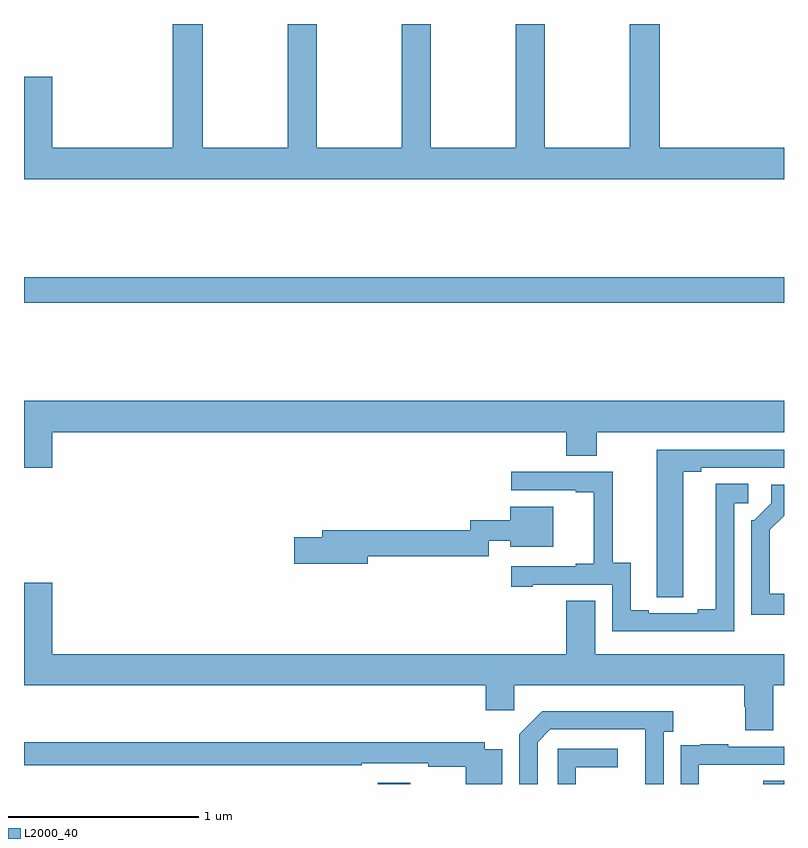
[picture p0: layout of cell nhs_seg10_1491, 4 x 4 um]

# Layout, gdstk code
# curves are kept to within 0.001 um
import gdstk
lib = gdstk.Library(unit=1e-6, precision=1e-09)
def R(c, l, rs):  # rectangles x0, y0, x1, y1
    for r in rs: c.add(gdstk.rectangle(r[:2], r[2:], *l))
def P(c, l, *ps):  # polygons
    for p in ps: c.add(gdstk.Polygon(p, *l))
L2000_40 = (2000, 40)

nhs_seg10_1491 = lib.new_cell('nhs_seg10_1491')
R(nhs_seg10_1491, L2000_40, [(190.862,1262.5,191.032,1262.506), (192.89,1262.5,193,1262.516), (189,1265.032,193,1265.168)])
P(nhs_seg10_1491, L2000_40, [(193,1265.848),(192.347,1265.848),(192.347,1266.5),(192.187,1266.5),(192.187,1265.848),(191.742,1265.848),(191.742,1266.5),(191.587,1266.5),(191.587,1265.848),(191.142,1265.848),(191.142,1266.5),(190.987,1266.5),(190.987,1265.848),(190.542,1265.848),(190.542,1266.5),(190.387,1266.5),(190.387,1265.848),(189.942,1265.848),(189.942,1266.5),(189.782,1266.5),(189.782,1265.848),(189.148,1265.848),(189.148,1266.223),(189,1266.223),(189,1265.684),(193,1265.684)],
  [(189.148,1264.352),(191.855,1264.352),(191.855,1264.228),(192.015,1264.228),(192.015,1264.352),(193,1264.352),(193,1264.516),(189,1264.516),(189,1264.164),(189.148,1264.164)],
  [(192.469,1264.144),(192.565,1264.144),(192.565,1264.164),(193,1264.164),(193,1264.26),(192.329,1264.26),(192.329,1263.592),(192.33,1263.592),(192.33,1263.484),(192.469,1263.484)],
  [(192.738,1263.978),(192.811,1263.978),(192.811,1264.079),(192.641,1264.079),(192.641,1263.419),(192.545,1263.419),(192.545,1263.399),(192.289,1263.399),(192.289,1263.414),(192.193,1263.414),(192.193,1263.665),(192.099,1263.665),(192.099,1264.143),(191.565,1264.143),(191.565,1264.047),(191.903,1264.047),(191.903,1264.035),(191.999,1264.035),(191.999,1263.658),(191.903,1263.658),(191.903,1263.645),(191.565,1263.645),(191.565,1263.537),(191.677,1263.537),(191.677,1263.549),(192.096,1263.549),(192.096,1263.303),(192.738,1263.303)],
  [(193,1263.502),(192.925,1263.502),(192.925,1263.838),(193,1263.913),(193,1264.074),(192.933,1264.074),(192.933,1263.978),(192.843,1263.888),(192.828,1263.888),(192.828,1263.392),(193,1263.392)],
  [(190.81,1263.7),(191.445,1263.7),(191.445,1263.779),(191.558,1263.779),(191.558,1263.749),(191.785,1263.749),(191.785,1263.958),(191.558,1263.958),(191.558,1263.889),(191.349,1263.889),(191.349,1263.836),(190.571,1263.836),(190.571,1263.8),(190.422,1263.8),(190.422,1263.658),(190.81,1263.658)],
  [(192.007,1263.464),(191.855,1263.464),(191.855,1263.184),(189.148,1263.184),(189.148,1263.559),(189,1263.559),(189,1263.02),(191.429,1263.02),(191.429,1262.889),(191.58,1262.889),(191.58,1263.02),(192.791,1263.02),(192.791,1262.907),(192.796,1262.907),(192.796,1262.782),(192.943,1262.782),(192.943,1263.02),(193,1263.02),(193,1263.184),(192.007,1263.184)],
  [(191.703,1262.721),(191.769,1262.787),(192.269,1262.787),(192.27,1262.5),(192.366,1262.5),(192.366,1262.774),(192.418,1262.774),(192.418,1262.884),(191.728,1262.884),(191.607,1262.763),(191.607,1262.5),(191.703,1262.5)],
  [(191.518,1262.683),(191.424,1262.683),(191.424,1262.719),(189,1262.719),(189,1262.598),(190.778,1262.598),(190.778,1262.61),(191.128,1262.61),(191.128,1262.59),(191.326,1262.59),(191.326,1262.5),(191.518,1262.5)],
  [(192.552,1262.601),(193,1262.601),(193,1262.697),(192.707,1262.697),(192.707,1262.71),(192.559,1262.71),(192.559,1262.703),(192.457,1262.703),(192.457,1262.594),(192.456,1262.594),(192.456,1262.5),(192.552,1262.5)],
  [(191.904,1262.589),(192.124,1262.589),(192.124,1262.685),(191.808,1262.685),(191.808,1262.5),(191.904,1262.5)])

lib.write_gds('nhs_seg10_1491.gds')
